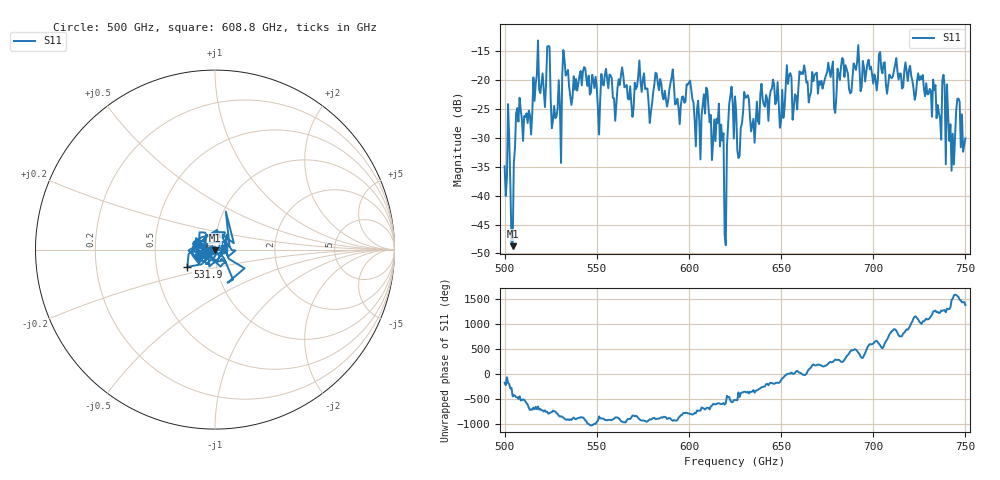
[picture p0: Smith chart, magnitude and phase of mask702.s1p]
!Created with skrf (http://scikit-rf.org).
# GHz S MA R 50.0
!freq magS11 angS11
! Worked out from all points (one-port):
!   401 points, 500 GHz to 750 GHz, reference 50 ohm
!   lowest |S11| = -48.7 dB at 504.4 GHz (marker M1), VSWR 1.01, Z = 50 - j0.365 ohm
!   |S11| at or under -10 dB: start of sweep to end of sweep
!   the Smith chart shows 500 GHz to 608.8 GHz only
!   S11 on the Smith chart (normalised r, x): 500 GHz: 0.96, -0.00; 531.9 GHz: 0.72, -0.14; 608.8 GHz: 1.11, +0.03
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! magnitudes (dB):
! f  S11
! 500 GHz  -34.9
! 501.2 GHz  -36.9
! 504.4 GHz  -48.7
! 507.5 GHz  -27.2
! 513.8 GHz  -26.1
! 516.9 GHz  -20.6
! 523.8 GHz  -14.1
! 526.9 GHz  -24.5
! 531.2 GHz  -19.2
! 531.9 GHz  -14.8
! 562.5 GHz  -20.9
! 579.4 GHz  -25.5
! 590.6 GHz  -19.5
! 593.8 GHz  -23.2
! 600 GHz  -20.5
! 605 GHz  -23.6
! 608.8 GHz  -25.8
! 617.5 GHz  -27.7
! 619.4 GHz  -46.7
! 622.5 GHz  -22.8
! 625 GHz  -22.8
! 627.5 GHz  -33.1
! 631.2 GHz  -22.9
! 635 GHz  -26.7
! 656.2 GHz  -26.9
! 687.5 GHz  -22.3
! 718.8 GHz  -20.2
! 750 GHz  -30.1
